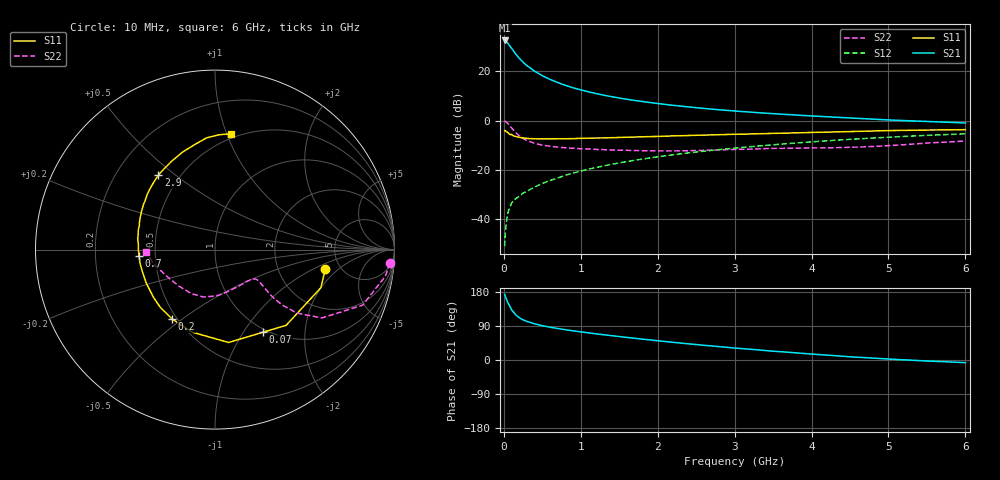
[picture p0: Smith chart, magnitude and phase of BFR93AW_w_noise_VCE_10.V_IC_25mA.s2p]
! Infineon Technologies  Discrete & RF Semiconductors
! BFR93AW
! VCE =  10. V,  IC =  25 mA
! Common Emitter S-Parameters:  Jan 2017
# GHz  S  MA  R  50
!  f  S11  S21  S12  S22
! GHz  MAG  ANG  MAG  ANG  MAG  ANG  MAG  ANG
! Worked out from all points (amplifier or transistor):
!   77 points, 10 MHz to 6 GHz, reference 50 ohm
!   highest |S21| = 32.5 dB at 10 MHz (marker M1)
!   |S21| within 3 dB of that: start of sweep to 96.16 MHz
!   unconditionally stable (mu >= 1): 649.9 MHz to 2.053 GHz
!   at 130 MHz: K = 0.46, MSG = 30.3 dB, |S12| = -32.5 dB
!   at 2.2 GHz: K = 0.99, MSG = 10.1 dB, |S12| = -13.9 dB
!   at 6 GHz: K = 0.86, MSG = 2.2 dB, |S12| = -5.4 dB
!   lowest NFmin = 1.66 dB at 450 MHz
!   S11 on the Smith chart (normalised r, x): 10 MHz: 3.82, -1.34; 70 MHz: 0.96, -1.23; 200 MHz: 0.47, -0.46; 700 MHz: 0.40, -0.04; 2.9 GHz: 0.38, +0.44; 6 GHz: 0.46, +1.03
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0.01  0.6241 -9.9  42.31 173.2  0.0028 80.8  0.9783 -4.4
0.02  0.6269 -19.8  41.98 167.7  0.0053 91.6  0.9599 -9.0
0.05  0.5788 -46.8  37.68 151.6  0.0129 72.1  0.8788 -20.6
0.07  0.5325 -59.8  33.95 145.0  0.016 67.2  0.8059 -24.8
0.1  0.5231 -81.7  29.45 132.2  0.0209 62.7  0.7066 -32.6
0.15  0.4771 -105.4  22.93 119.9  0.0257 58.6  0.5758 -37.8
0.2  0.4542 -121.6  18.42 111.8  0.0288 57.3  0.4892 -39.4
0.25  0.4434 -133.4  15.32 105.9  0.0336 58.8  0.4323 -39.6
0.3  0.4339 -142.1  13.02 101.7  0.0364 60.3  0.3918 -39.0
0.4  0.426 -154.2  10.04 95.2  0.0444 63.5  0.3441 -37.5
0.5  0.4229 -163.2  8.128 90.5  0.0524 64.9  0.3165 -36.4
0.6  0.4244 -169.7  6.842 86.5  0.0605 66.1  0.2995 -35.7
0.7  0.4249 -175.2  5.897 83.2  0.0677 67.9  0.2879 -35.7
0.9  0.4281 175.9  4.625 77.0  0.0852 68.7  0.2731 -36.7
1.1  0.4366 168.7  3.831 71.7  0.1028 69.3  0.264 -39.0
1.5  0.4529 157.3  2.863 61.9  0.1378 68.2  0.2492 -46.5
2.1  0.4804 143.0  2.123 48.8  0.192 64.8  0.2411 -62.9
2.9  0.52 127.3  1.606 33.4  0.2652 58.6  0.256 -87.4
3.1  0.5287 123.6  1.521 30.0  0.2837 56.8  0.2603 -93.0
4.1  0.5767 106.8  1.215 14.3  0.3775 47.2  0.278 -121.5
5.1  0.6273 92.9  1.012 1.5  0.4664 36.5  0.3153 -155.2
6  0.6516 82.2  0.891 -7.0  0.5368 26.2  0.3837 -177.7
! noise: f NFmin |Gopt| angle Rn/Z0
0.45  1.66  0.17  171  0.16
0.9  1.93  0.25  -177  0.16
1.9  2.93  0.49  -136  0.25
2.4  3.59  0.55  -125  0.5
